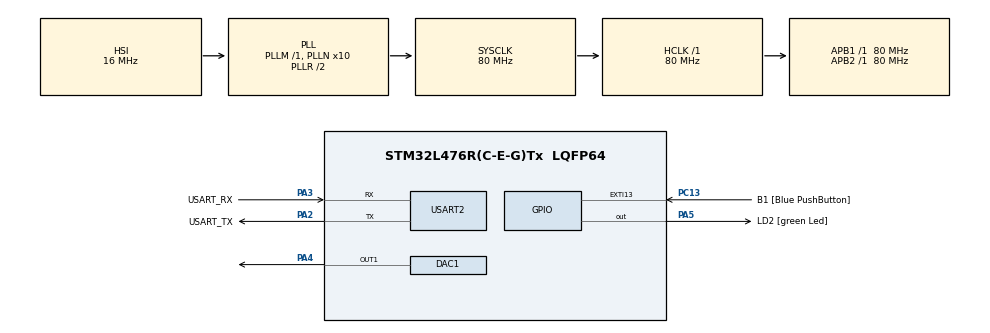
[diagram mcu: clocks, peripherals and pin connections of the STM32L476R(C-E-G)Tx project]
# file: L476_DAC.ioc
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DAC1.DAC_Trigger-DAC_OUT1=DAC_TRIGGER_T4_TRGO
Dma.DAC_CH1.0.Direction=DMA_MEMORY_TO_PERIPH
Dma.DAC_CH1.0.Instance=DMA1_Channel3
Dma.DAC_CH1.0.MemDataAlignment=DMA_MDATAALIGN_HALFWORD
Dma.DAC_CH1.0.MemInc=DMA_MINC_ENABLE
Dma.DAC_CH1.0.Mode=DMA_NORMAL
Dma.DAC_CH1.0.PeriphDataAlignment=DMA_PDATAALIGN_HALFWORD
Dma.DAC_CH1.0.PeriphInc=DMA_PINC_DISABLE
Dma.DAC_CH1.0.Priority=DMA_PRIORITY_LOW
Dma.Request0=DAC_CH1
Mcu.Family=STM32L4
Mcu.Name=STM32L476R(C-E-G)Tx
Mcu.Package=LQFP64
NVIC.DMA1_Channel3_IRQn=true\:0\:0\:false\:false\:true\:false\:true
NVIC.PriorityGroup=NVIC_PRIORITYGROUP_4
PA13\ (JTMS-SWDIO).GPIO_Label=TMS
PA13\ (JTMS-SWDIO).Mode=Serial_Wire
PA13\ (JTMS-SWDIO).Signal=SYS_JTMS-SWDIO
PA14\ (JTCK-SWCLK).GPIO_Label=TCK
PA14\ (JTCK-SWCLK).Mode=Serial_Wire
PA14\ (JTCK-SWCLK).Signal=SYS_JTCK-SWCLK
PA2.GPIO_Label=USART_TX
PA2.GPIO_Mode=GPIO_MODE_AF_PP
PA2.GPIO_PuPd=GPIO_NOPULL
PA2.GPIO_Speed=GPIO_SPEED_FREQ_VERY_HIGH
PA2.Mode=Asynchronous
PA2.Signal=USART2_TX
PA3.GPIO_Label=USART_RX
PA3.GPIO_Mode=GPIO_MODE_AF_PP
PA3.GPIO_PuPd=GPIO_NOPULL
PA3.GPIO_Speed=GPIO_SPEED_FREQ_VERY_HIGH
PA3.Mode=Asynchronous
PA3.Signal=USART2_RX
PA4.Signal=COMP_DAC11_group
PA5.GPIO_Label=LD2 [green Led]
PA5.GPIO_ModeDefaultOutputPP=GPIO_MODE_OUTPUT_PP
PA5.GPIO_PuPd=GPIO_NOPULL
PA5.GPIO_Speed=GPIO_SPEED_FREQ_LOW
PA5.Signal=GPIO_Output
PB3\ (JTDO-TRACESWO).GPIO_Label=SWO
PB3\ (JTDO-TRACESWO).Signal=SYS_JTDO-SWO
PC13.GPIO_Label=B1 [Blue PushButton]
PC13.GPIO_ModeDefaultEXTI=GPIO_MODE_IT_FALLING
PC13.GPIO_PuPd=GPIO_NOPULL
PC13.Signal=GPXTI13
PC14-OSC32_IN\ (PC14).Mode=LSE-External-Oscillator
PC14-OSC32_IN\ (PC14).Signal=RCC_OSC32_IN
PC15-OSC32_OUT\ (PC15).Mode=LSE-External-Oscillator
PC15-OSC32_OUT\ (PC15).Signal=RCC_OSC32_OUT
PH0-OSC_IN\ (PH0).Signal=RCC_OSC_IN
PH1-OSC_OUT\ (PH1).Signal=RCC_OSC_OUT
ProjectManager.HeapSize=0x200
ProjectManager.StackSize=0x400
ProjectManager.TargetToolchain=STM32CubeIDE
RCC.ADCFreq_Value=64000000
RCC.AHBFreq_Value=80000000
RCC.APB1Freq_Value=80000000
RCC.APB1TimFreq_Value=80000000
RCC.APB2Freq_Value=80000000
RCC.APB2TimFreq_Value=80000000
RCC.CortexFreq_Value=80000000
RCC.HCLKFreq_Value=80000000
RCC.HSE_VALUE=8000000
RCC.HSI_VALUE=16000000
RCC.MSI_VALUE=4000000
RCC.PLLN=10
RCC.PLLSourceVirtual=RCC_PLLSOURCE_HSI
RCC.PREFETCH_ENABLE=1
RCC.SYSCLKFreq_VALUE=80000000
RCC.SYSCLKSource=RCC_SYSCLKSOURCE_PLLCLK
RCC.USBFreq_Value=64000000
RCC.VCOOutputFreq_Value=160000000
SH.COMP_DAC11_group.0=DAC1_OUT1,DAC_OUT1
TIM4.Period=3628
TIM4.TIM_MasterOutputTrigger=TIM_TRGO_UPDATE
USART2.VirtualMode-Asynchronous=VM_ASYNC
VP_TIM4_VS_ClockSourceINT.Mode=Internal
board=NUCLEO-L476RG

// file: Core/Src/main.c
/* USER CODE BEGIN Header */
/**
  ******************************************************************************
  * @file           : main.c
  * @brief          : Main program body
  ******************************************************************************
  * @attention
  *
  * <h2><center>&copy; Copyright (c) 2020 STMicroelectronics.
  * All rights reserved.</center></h2>
  *
  * This software component is licensed by ST under BSD 3-Clause license,
  * the "License"; You may not use this file except in compliance with the
  * License. You may obtain a copy of the License at:
  *                        opensource.org/licenses/BSD-3-Clause
  *
  ******************************************************************************
  */
/* USER CODE END Header */
#include "main.h"

/* USER CODE BEGIN Includes */
#include <math.h>
#include <string.h>
/* USER CODE END Includes */

/* USER CODE BEGIN PD */
#define BUFFERSIZE 2048
#define MIN(a,b) (((a)<(b))? (a):(b))

/* USER CODE END PD */

DAC_HandleTypeDef hdac1;
DMA_HandleTypeDef hdma_dac_ch1;

TIM_HandleTypeDef htim4;

UART_HandleTypeDef huart2;

void SystemClock_Config(void);
static void MX_GPIO_Init(void);
static void MX_DMA_Init(void);
static void MX_USART2_UART_Init(void);
static void MX_DAC1_Init(void);
static void MX_TIM4_Init(void);

/* USER CODE BEGIN 0 */

extern uint8_t *__USER_DATA;
uint8_t flg_dma_done;

/* USER CODE END 0 */

int main(void)
{

  /* MCU Configuration--------------------------------------------------------*/

  /* Reset of all peripherals, Initializes the Flash interface and the Systick. */
  HAL_Init();

  /* Configure the system clock */
  SystemClock_Config();

  /* Initialize all configured peripherals */
  MX_GPIO_Init();
  MX_DMA_Init();
  MX_USART2_UART_Init();
  MX_DAC1_Init();
  MX_TIM4_Init();
  /* USER CODE BEGIN 2 */

  HAL_TIM_Base_Start(&htim4);

  uint8_t *p = (uint8_t *)&__USER_DATA;
  p += 4; // "RIFF"
  p += 4; // samples
  p += 4; // "WAVE"
  p += 4; // "fmt "
  p += 4; // fmtチャンクのバイト数
  p += 2; // 音声フォーマット
  p += 2; // チャンネル数 (1を想定
  p += 4; // サンプリング周波数(Hz)
  p += 4; // 1 秒あたりバイト数の平均 (サンプリング周波数 * ブロックサイズ)
  p += 2; // ブロックサイズ
  p += 2; // ビット／サンプル
  p += 4; // "data"

  // サブチャンクサイズ  波形データの「バイト数」
  uint32_t samples = *p + (*(p+1) * 256)  + (*(p+2) * 256 * 256)  + (*(p+3) * 256 * 256 * 256);
  samples /= 2;
  p += 4;

  /* USER CODE END 2 */

  /* Infinite loop */
  /* USER CODE BEGIN WHILE */
  while (1)
  {
	  // ボタンが押されていたら実行
	  if (HAL_GPIO_ReadPin(B1_GPIO_Port, B1_Pin) == GPIO_PIN_RESET) {
		  // beep
		  int16_t *pp = (int16_t *)p;
		  uint16_t dmaBuf[2][BUFFERSIZE];
		  int bank = 0;

		  flg_dma_done = 1;
		  int count = samples;
		  while (0 < count) {
			  const int blksize = MIN(samples, BUFFERSIZE);

			  // 波形を DAC出力に合わせる (振幅とオフセット)
			  for(int i=0; i< blksize; i++) {
				  int16_t v0 = *pp;
				  pp++;
				  int32_t v = v0;
				  v >>= 4;
				  v += 2047;

				  dmaBuf[bank][i] = v & 0x0fff;
			  }

			  // wait for DMA complete
			  while(!flg_dma_done) {
				  __NOP();
			  }

			  flg_dma_done = 0;
			  HAL_DAC_Start_DMA(&hdac1, DAC_CHANNEL_1, (uint32_t*)dmaBuf[bank], blksize, DAC_ALIGN_12B_R);

			  bank = !bank;
			  count -= blksize;
		  }

		  HAL_DAC_Stop_DMA(&hdac1, DAC_CHANNEL_1);
	  }

    /* USER CODE END WHILE */

  }
}

void SystemClock_Config(void)
{
  RCC_OscInitTypeDef RCC_OscInitStruct = {0};
  RCC_ClkInitTypeDef RCC_ClkInitStruct = {0};
  RCC_PeriphCLKInitTypeDef PeriphClkInit = {0};

  /** Initializes the RCC Oscillators according to the specified parameters
  * in the RCC_OscInitTypeDef structure.
  */
  RCC_OscInitStruct.OscillatorType = RCC_OSCILLATORTYPE_HSI;
  RCC_OscInitStruct.HSIState = RCC_HSI_ON;
  RCC_OscInitStruct.HSICalibrationValue = RCC_HSICALIBRATION_DEFAULT;
  RCC_OscInitStruct.PLL.PLLState = RCC_PLL_ON;
  RCC_OscInitStruct.PLL.PLLSource = RCC_PLLSOURCE_HSI;
  RCC_OscInitStruct.PLL.PLLM = 1;
  RCC_OscInitStruct.PLL.PLLN = 10;
  RCC_OscInitStruct.PLL.PLLP = RCC_PLLP_DIV7;
  RCC_OscInitStruct.PLL.PLLQ = RCC_PLLQ_DIV2;
  RCC_OscInitStruct.PLL.PLLR = RCC_PLLR_DIV2;
  if (HAL_RCC_OscConfig(&RCC_OscInitStruct) != HAL_OK)
  {
    Error_Handler();
  }
  /** Initializes the CPU, AHB and APB buses clocks
  */
  RCC_ClkInitStruct.ClockType = RCC_CLOCKTYPE_HCLK|RCC_CLOCKTYPE_SYSCLK
                              |RCC_CLOCKTYPE_PCLK1|RCC_CLOCKTYPE_PCLK2;
  RCC_ClkInitStruct.SYSCLKSource = RCC_SYSCLKSOURCE_PLLCLK;
  RCC_ClkInitStruct.AHBCLKDivider = RCC_SYSCLK_DIV1;
  RCC_ClkInitStruct.APB1CLKDivider = RCC_HCLK_DIV1;
  RCC_ClkInitStruct.APB2CLKDivider = RCC_HCLK_DIV1;

  if (HAL_RCC_ClockConfig(&RCC_ClkInitStruct, FLASH_LATENCY_4) != HAL_OK)
  {
    Error_Handler();
  }
  PeriphClkInit.PeriphClockSelection = RCC_PERIPHCLK_USART2;
  PeriphClkInit.Usart2ClockSelection = RCC_USART2CLKSOURCE_PCLK1;
  if (HAL_RCCEx_PeriphCLKConfig(&PeriphClkInit) != HAL_OK)
  {
    Error_Handler();
  }
  /** Configure the main internal regulator output voltage
  */
  if (HAL_PWREx_ControlVoltageScaling(PWR_REGULATOR_VOLTAGE_SCALE1) != HAL_OK)
  {
    Error_Handler();
  }
}

static void MX_DAC1_Init(void)
{

  DAC_ChannelConfTypeDef sConfig = {0};

  /** DAC Initialization
  */
  hdac1.Instance = DAC1;
  if (HAL_DAC_Init(&hdac1) != HAL_OK)
  {
    Error_Handler();
  }
  /** DAC channel OUT1 config
  */
  sConfig.DAC_SampleAndHold = DAC_SAMPLEANDHOLD_DISABLE;
  sConfig.DAC_Trigger = DAC_TRIGGER_T4_TRGO;
  sConfig.DAC_OutputBuffer = DAC_OUTPUTBUFFER_ENABLE;
  sConfig.DAC_ConnectOnChipPeripheral = DAC_CHIPCONNECT_DISABLE;
  sConfig.DAC_UserTrimming = DAC_TRIMMING_FACTORY;
  if (HAL_DAC_ConfigChannel(&hdac1, &sConfig, DAC_CHANNEL_1) != HAL_OK)
  {
    Error_Handler();
  }

}

static void MX_TIM4_Init(void)
{

  TIM_ClockConfigTypeDef sClockSourceConfig = {0};
  TIM_MasterConfigTypeDef sMasterConfig = {0};

  htim4.Instance = TIM4;
  htim4.Init.Prescaler = 0;
  htim4.Init.CounterMode = TIM_COUNTERMODE_UP;
  htim4.Init.Period = 3628;
  htim4.Init.ClockDivision = TIM_CLOCKDIVISION_DIV1;
  htim4.Init.AutoReloadPreload = TIM_AUTORELOAD_PRELOAD_DISABLE;
  if (HAL_TIM_Base_Init(&htim4) != HAL_OK)
  {
    Error_Handler();
  }
  sClockSourceConfig.ClockSource = TIM_CLOCKSOURCE_INTERNAL;
  if (HAL_TIM_ConfigClockSource(&htim4, &sClockSourceConfig) != HAL_OK)
  {
    Error_Handler();
  }
  sMasterConfig.MasterOutputTrigger = TIM_TRGO_UPDATE;
  sMasterConfig.MasterSlaveMode = TIM_MASTERSLAVEMODE_DISABLE;
  if (HAL_TIMEx_MasterConfigSynchronization(&htim4, &sMasterConfig) != HAL_OK)
  {
    Error_Handler();
  }

}

static void MX_USART2_UART_Init(void)
{

  huart2.Instance = USART2;
  huart2.Init.BaudRate = 115200;
  huart2.Init.WordLength = UART_WORDLENGTH_8B;
  huart2.Init.StopBits = UART_STOPBITS_1;
  huart2.Init.Parity = UART_PARITY_NONE;
  huart2.Init.Mode = UART_MODE_TX_RX;
  huart2.Init.HwFlowCtl = UART_HWCONTROL_NONE;
  huart2.Init.OverSampling = UART_OVERSAMPLING_16;
  huart2.Init.OneBitSampling = UART_ONE_BIT_SAMPLE_DISABLE;
  huart2.AdvancedInit.AdvFeatureInit = UART_ADVFEATURE_NO_INIT;
  if (HAL_UART_Init(&huart2) != HAL_OK)
  {
    Error_Handler();
  }

}

static void MX_DMA_Init(void)
{

  /* DMA controller clock enable */
  __HAL_RCC_DMA1_CLK_ENABLE();

  /* DMA interrupt init */
  /* DMA1_Channel3_IRQn interrupt configuration */
  HAL_NVIC_SetPriority(DMA1_Channel3_IRQn, 0, 0);
  HAL_NVIC_EnableIRQ(DMA1_Channel3_IRQn);

}

static void MX_GPIO_Init(void)
{
  GPIO_InitTypeDef GPIO_InitStruct = {0};

  /* GPIO Ports Clock Enable */
  __HAL_RCC_GPIOC_CLK_ENABLE();
  __HAL_RCC_GPIOH_CLK_ENABLE();
  __HAL_RCC_GPIOA_CLK_ENABLE();
  __HAL_RCC_GPIOB_CLK_ENABLE();

  /*Configure GPIO pin Output Level */
  HAL_GPIO_WritePin(LD2_GPIO_Port, LD2_Pin, GPIO_PIN_RESET);

  /*Configure GPIO pin : B1_Pin */
  GPIO_InitStruct.Pin = B1_Pin;
  GPIO_InitStruct.Mode = GPIO_MODE_IT_FALLING;
  GPIO_InitStruct.Pull = GPIO_NOPULL;
  HAL_GPIO_Init(B1_GPIO_Port, &GPIO_InitStruct);

  /*Configure GPIO pin : LD2_Pin */
  GPIO_InitStruct.Pin = LD2_Pin;
  GPIO_InitStruct.Mode = GPIO_MODE_OUTPUT_PP;
  GPIO_InitStruct.Pull = GPIO_NOPULL;
  GPIO_InitStruct.Speed = GPIO_SPEED_FREQ_LOW;
  HAL_GPIO_Init(LD2_GPIO_Port, &GPIO_InitStruct);

}

/* USER CODE BEGIN 4 */
void HAL_DAC_ConvCpltCallbackCh1(DAC_HandleTypeDef* hdac)
{
	flg_dma_done = 1;
}

/* USER CODE END 4 */

void Error_Handler(void)
{
}

/************************ (C) COPYRIGHT STMicroelectronics *****END OF FILE****/
